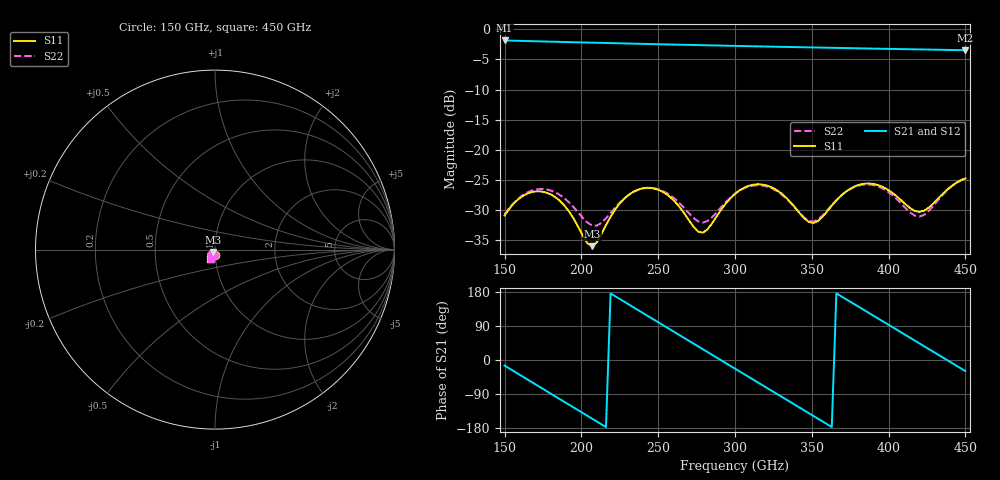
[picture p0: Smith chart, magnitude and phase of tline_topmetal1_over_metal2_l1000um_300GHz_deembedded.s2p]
! Created with skrf 2.2.0 (http://scikit-rf.org).
# GHz S DB R 50.0
! Port[1] = P1
! Port[2] = P2
!freq dBS11 angS11 dBS21 angS21 dBS12 angS12 dBS22 angS22
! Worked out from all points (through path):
!   101 points, 150 GHz to 450 GHz, reference 50 ohm
!   highest |S21| = -1.84 dB at 150 GHz (marker M1); lowest = -3.5 dB at 450 GHz (marker M2)
!   group delay of S21, straight-line fit = 6.8 ps
!   lowest |S11| = -36.1 dB at 207 GHz (marker M3), VSWR 1.03, Z = 49.1 - j1.25 ohm
!   |S11| at or under -10 dB: start of sweep to end of sweep
!   |S22| runs from -32.6 to -24.7 dB; largest |S21 - S12| = 8.8e-14
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150  -30.94 -95.6  -1.84 -14.7  -1.84 -14.7  -30.73 -104.0
165  -27.29 -115.2  -1.94 -51.7  -1.94 -51.7  -27.08 -116.9
177  -27.13 -135.8  -2.02 -81.2  -2.02 -81.2  -26.60 -134.3
189  -29.32 -152.9  -2.10 -110.7  -2.10 -110.7  -28.10 -148.8
201  -34.35 -149.9  -2.17 -140.2  -2.17 -140.2  -31.37 -148.6
207  -36.05 -125.9  -2.21 -154.9  -2.21 -154.9  -32.63 -136.7
228  -28.12 -104.0  -2.33 153.5  -2.33 153.5  -28.09 -114.9
240  -26.42 -121.5  -2.41 124.1  -2.41 124.1  -26.46 -127.7
252  -26.88 -139.7  -2.48 94.7  -2.48 94.7  -26.75 -142.8
264  -29.57 -151.3  -2.54 65.3  -2.54 65.3  -28.93 -151.9
279  -33.81 -124.4  -2.63 28.6  -2.63 28.6  -32.13 -132.4
300  -27.35 -106.9  -2.74 -22.8  -2.74 -22.8  -27.34 -116.2
315  -25.76 -126.5  -2.82 -59.5  -2.82 -59.5  -25.91 -132.9
327  -26.70 -141.9  -2.89 -88.8  -2.89 -88.8  -26.85 -146.7
351  -32.20 -125.8  -3.00 -147.5  -3.00 -147.5  -31.96 -129.5
363  -29.31 -105.7  -3.06 -176.8  -3.06 -176.8  -29.22 -110.7
375  -26.50 -111.7  -3.12 153.9  -3.12 153.9  -26.56 -116.4
390  -25.69 -128.9  -3.19 117.2  -3.19 117.2  -25.89 -133.2
402  -27.09 -139.6  -3.25 88.0  -3.25 88.0  -27.47 -143.6
417  -30.19 -130.4  -3.31 51.3  -3.31 51.3  -30.97 -131.6
429  -28.97 -109.2  -3.37 22.0  -3.37 22.0  -29.37 -106.6
450  -24.80 -117.8  -3.46 -29.3  -3.46 -29.3  -24.73 -115.5
